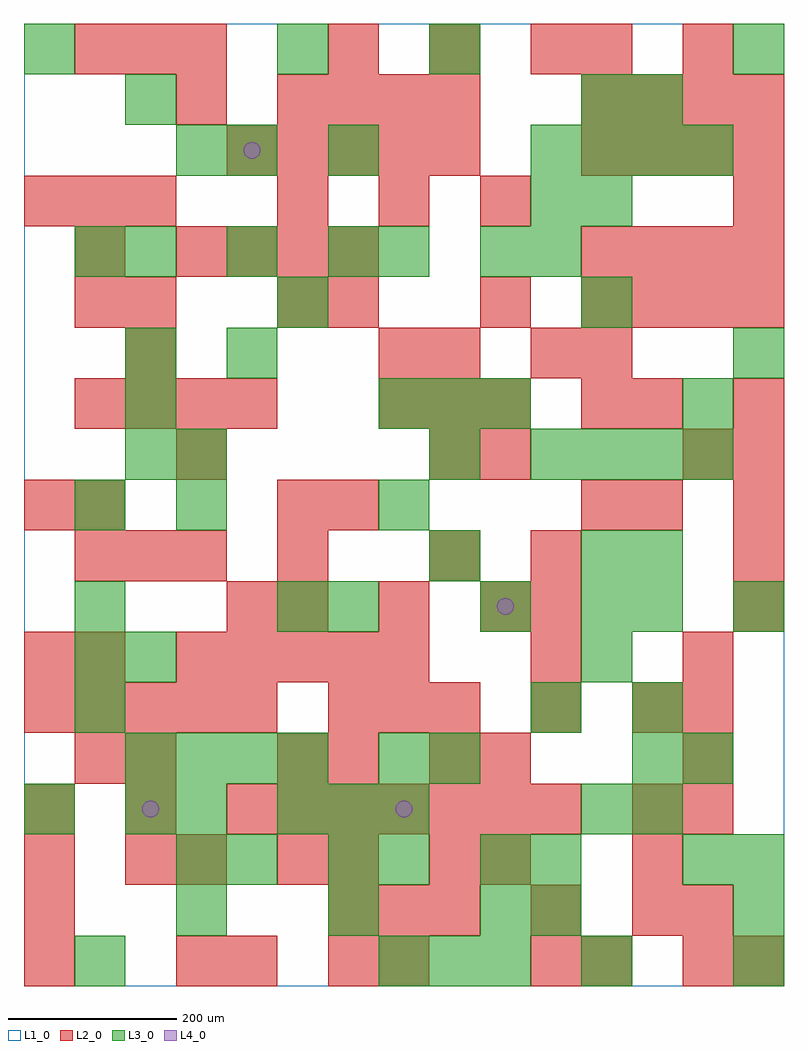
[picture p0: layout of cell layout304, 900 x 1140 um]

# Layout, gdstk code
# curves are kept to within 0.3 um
import gdstk
lib = gdstk.Library(unit=1e-6, precision=1e-09)
def R(c, l, rs):  # rectangles x0, y0, x1, y1
    for r in rs: c.add(gdstk.rectangle(r[:2], r[2:], *l))
def A(c, l, x, y, w, h, nx, ny, dx, dy):  # array of equal rectangles
    R(c, l, [(x+i*dx, y+j*dy, x+i*dx+w, y+j*dy+h) for i in range(nx) for j in range(ny)])
def P(c, l, *ps):  # polygons
    for p in ps: c.add(gdstk.Polygon(p, *l))
L1_0 = (1, 0)
L2_0 = (2, 0)
L3_0 = (3, 0)
L4_0 = (4, 0)

layout304 = lib.new_cell('layout304')
R(layout304, L1_0, [(0,0,900,1140)])
A(layout304, L2_0, 0, 0, 60, 60, 1, 3, 0, 60)
A(layout304, L2_0, 360, 0, 60, 60, 1, 3, 0, 120)
A(layout304, L2_0, 360, 60, 60, 60, 3, 2, 60, 240)
A(layout304, L2_0, 720, 60, 60, 60, 1, 3, 0, 60)
A(layout304, L2_0, 0, 180, 60, 60, 3, 1, 120, 0)
A(layout304, L2_0, 300, 180, 60, 60, 6, 1, 60, 0)
A(layout304, L2_0, 780, 180, 60, 60, 1, 4, 0, 60)
A(layout304, L2_0, 0, 300, 60, 60, 5, 1, 60, 0)
A(layout304, L2_0, 600, 300, 60, 60, 1, 4, 0, 60)
A(layout304, L2_0, 180, 360, 60, 60, 5, 1, 60, 0)
A(layout304, L2_0, 300, 420, 60, 60, 3, 2, 120, 480)
A(layout304, L2_0, 840, 420, 60, 60, 1, 5, 0, 60)
A(layout304, L2_0, 60, 480, 60, 60, 3, 2, 60, 600)
A(layout304, L2_0, 480, 480, 60, 60, 1, 3, 0, 120)
A(layout304, L2_0, 60, 660, 60, 60, 4, 1, 60, 0)
A(layout304, L2_0, 420, 660, 60, 60, 3, 1, 60, 0)
A(layout304, L2_0, 660, 780, 60, 60, 4, 2, 60, 60)
A(layout304, L2_0, 180, 840, 60, 60, 4, 1, 60, 0)
A(layout304, L2_0, 0, 900, 60, 60, 3, 1, 60, 0)
A(layout304, L2_0, 240, 960, 60, 60, 5, 1, 60, 0)
A(layout304, L2_0, 660, 960, 60, 60, 4, 2, 60, 60)
A(layout304, L2_0, 300, 1020, 60, 60, 4, 1, 60, 0)
A(layout304, L2_0, 360, 1080, 60, 60, 3, 1, 120, 0)
R(layout304, L2_0, [(180,0,240,60), (240,0,300,60), (420,0,480,60), (600,0,660,60), (660,0,720,60), (780,0,840,60), (840,0,900,60), (600,60,660,120), (780,60,840,120), (120,120,180,180), (180,120,240,180), (300,120,360,180), (480,120,540,180), (540,120,600,180), (60,240,120,300), (120,240,180,300), (300,240,360,300), (480,240,540,300), (540,240,600,300), (720,300,780,360), (0,360,60,420), (60,360,120,420), (240,420,300,480), (300,480,360,540), (0,540,60,600), (60,540,120,600), (300,540,360,600), (360,540,420,600), (660,540,720,600), (720,540,780,600), (180,600,240,660), (540,600,600,660), (780,600,840,660), (660,660,720,720), (720,660,780,720), (120,720,180,780), (420,720,480,780), (600,720,660,780), (660,720,720,780), (60,780,120,840), (120,780,180,840), (300,780,360,840), (360,780,420,840), (540,780,600,840), (60,840,120,900), (840,900,900,960), (180,1020,240,1080), (660,1080,720,1140), (780,1080,840,1140)])
A(layout304, L3_0, 420, 0, 60, 60, 3, 2, 60, 660)
A(layout304, L3_0, 660, 0, 60, 60, 1, 3, 0, 180)
A(layout304, L3_0, 840, 0, 60, 60, 1, 3, 0, 60)
A(layout304, L3_0, 180, 60, 60, 60, 3, 1, 180, 0)
A(layout304, L3_0, 300, 180, 60, 60, 3, 1, 60, 0)
A(layout304, L3_0, 720, 180, 60, 60, 1, 3, 0, 60)
A(layout304, L3_0, 120, 240, 60, 60, 4, 1, 60, 0)
A(layout304, L3_0, 420, 240, 60, 60, 1, 3, 0, 300)
A(layout304, L3_0, 60, 300, 60, 60, 1, 3, 0, 60)
A(layout304, L3_0, 120, 600, 60, 60, 1, 3, 0, 60)
A(layout304, L3_0, 600, 600, 60, 60, 4, 2, 60, 360)
A(layout304, L3_0, 660, 780, 60, 60, 1, 3, 0, 120)
A(layout304, L3_0, 120, 840, 60, 60, 3, 1, 120, 0)
R(layout304, L3_0, [(60,0,120,60), (600,60,660,120), (180,120,240,180), (240,120,300,180), (360,120,420,180), (420,120,480,180), (540,120,600,180), (600,120,660,180), (780,120,840,180), (0,180,60,240), (120,180,180,240), (180,180,240,240), (480,240,540,300), (780,240,840,300), (600,300,660,360), (120,360,180,420), (300,420,360,480), (360,420,420,480), (540,420,600,480), (660,420,720,480), (720,420,780,480), (840,420,900,480), (480,480,540,540), (660,480,720,540), (720,480,780,540), (60,540,120,600), (180,540,240,600), (180,600,240,660), (480,600,540,660), (780,660,840,720), (240,720,300,780), (840,720,900,780), (300,780,360,840), (60,840,120,900), (540,840,600,900), (600,840,660,900), (600,900,660,960), (180,960,240,1020), (240,960,300,1020), (360,960,420,1020), (120,1020,180,1080), (720,1020,780,1080), (0,1080,60,1140), (300,1080,360,1140), (480,1080,540,1140), (840,1080,900,1140)])
P(layout304, L4_0, [(160,210),(159.239,213.827),(157.071,217.071),(153.827,219.239),(150,220),(146.173,219.239),(142.929,217.071),(140.761,213.827),(140,210),(140.761,206.173),(142.929,202.929),(146.173,200.761),(150,200),(153.827,200.761),(157.071,202.929),(159.239,206.173)],
  [(280,990),(279.239,993.827),(277.071,997.071),(273.827,999.239),(270,1000),(266.173,999.239),(262.929,997.071),(260.761,993.827),(260,990),(260.761,986.173),(262.929,982.929),(266.173,980.761),(270,980),(273.827,980.761),(277.071,982.929),(279.239,986.173)],
  [(460,210),(459.239,213.827),(457.071,217.071),(453.827,219.239),(450,220),(446.173,219.239),(442.929,217.071),(440.761,213.827),(440,210),(440.761,206.173),(442.929,202.929),(446.173,200.761),(450,200),(453.827,200.761),(457.071,202.929),(459.239,206.173)],
  [(580,450),(579.239,453.827),(577.071,457.071),(573.827,459.239),(570,460),(566.173,459.239),(562.929,457.071),(560.761,453.827),(560,450),(560.761,446.173),(562.929,442.929),(566.173,440.761),(570,440),(573.827,440.761),(577.071,442.929),(579.239,446.173)])

lib.write_gds('layout304.gds')
